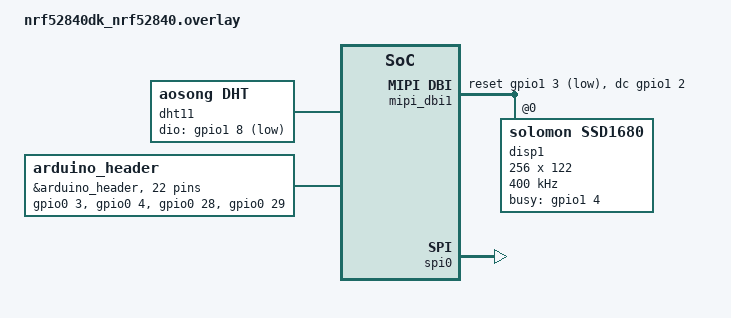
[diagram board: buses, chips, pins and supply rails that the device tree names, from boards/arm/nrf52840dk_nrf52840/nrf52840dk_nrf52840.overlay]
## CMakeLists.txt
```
cmake_minimum_required(VERSION 3.20.0)
find_package(Zephyr REQUIRED HINTS $ENV{ZEPHYR_BASE})

project(LVGL_Temp_And_Humidity_Attempt_1)

target_sources(app PRIVATE src/main.c)
```

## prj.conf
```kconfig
CONFIG_LV_Z_SHELL=y
CONFIG_MAIN_STACK_SIZE=16384
CONFIG_DISPLAY=y
CONFIG_DISPLAY_LOG_LEVEL_ERR=y
CONFIG_DISPLAY_INIT_PRIORITY=80
CONFIG_LOG=y
CONFIG_SHELL=y
CONFIG_LVGL=y
CONFIG_LV_USE_LOG=y
CONFIG_LV_USE_LABEL=y
CONFIG_LV_COLOR_DEPTH_1=y
CONFIG_LV_DRAW_BUF_STRIDE_ALIGN=8
CONFIG_LV_Z_MEM_POOL_SIZE=65536

CONFIG_SENSOR=y
CONFIG_DHT=y
CONFIG_GPIO=y
CONFIG_DHT_LOCK_IRQS=y
CONFIG_SSD16XX=y
CONFIG_SERIAL=y
CONFIG_UART_CONSOLE=y
CONFIG_CONSOLE=y
CONFIG_GPIO_NRFX=y

CONFIG_SPI=y
CONFIG_SPI_NRFX=y


CONFIG_LV_Z_VDB_SIZE=100

CONFIG_DISPLAY_LOG_LEVEL_DBG=y
CONFIG_LV_USE_QRCODE=y
CONFIG_LV_USE_CANVAS=y

CONFIG_DEBUG=y
CONFIG_PRINTK=y
CONFIG_THREAD_NAME=y
CONFIG_LOG=y
CONFIG_DEBUG_INFO=y
CONFIG_ASSERT=y

CONFIG_LV_FONT_MONTSERRAT_8=y
CONFIG_LV_FONT_MONTSERRAT_10=y
CONFIG_LV_FONT_MONTSERRAT_12=y
CONFIG_LV_FONT_MONTSERRAT_14=y
CONFIG_LV_FONT_MONTSERRAT_16=y
CONFIG_LV_FONT_MONTSERRAT_18=y
CONFIG_LV_FONT_MONTSERRAT_20=y
CONFIG_LV_FONT_MONTSERRAT_22=y
CONFIG_LV_FONT_MONTSERRAT_24=y
CONFIG_LV_FONT_MONTSERRAT_26=y
CONFIG_LV_FONT_MONTSERRAT_28=y
CONFIG_LV_FONT_MONTSERRAT_30=y
CONFIG_LV_FONT_MONTSERRAT_32=y
CONFIG_LV_FONT_MONTSERRAT_34=y
CONFIG_LV_FONT_MONTSERRAT_36=y
CONFIG_LV_FONT_MONTSERRAT_38=y
CONFIG_LV_FONT_MONTSERRAT_40=y
CONFIG_LV_FONT_MONTSERRAT_42=y
CONFIG_LV_FONT_MONTSERRAT_44=y
CONFIG_LV_FONT_MONTSERRAT_46=y
CONFIG_LV_FONT_MONTSERRAT_48=y
```

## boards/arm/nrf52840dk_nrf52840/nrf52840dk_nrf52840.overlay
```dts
/{
    dht11 {
        compatible = "aosong,dht";
        dio-gpios = <&gpio1 8 (GPIO_PULL_UP | GPIO_ACTIVE_LOW)>;
        status = "okay";
    };
};


/{
    chosen {
        zephyr,display = &disp1;
    };

    mipi_dbi1 {
        compatible = "zephyr,mipi-dbi-spi";
        dc-gpios = <&gpio1 2 GPIO_ACTIVE_HIGH>;
        reset-gpios = <&gpio1 3 GPIO_ACTIVE_LOW>;
        spi-dev = <&spi0>;
        write-only;
        #address-cells = <1>;
        #size-cells = <0>;
        status = "okay";

        disp1: ssd1680@0 {
            compatible = "solomon,ssd1680";
            reg = <0>;
            busy-gpios = <&gpio1 4 (GPIO_PULL_DOWN | GPIO_ACTIVE_HIGH)>;
            width = <256>;
            height = <122>;
            rotation = <0>;
            mipi-max-frequency = <400000>;   
            
            // full {};
            partial {};

            status = "okay";
        };
    };
};


&spi0 {
    status = "okay";
    cs-gpios = <&gpio1 1 GPIO_ACTIVE_LOW>;
};

&gpio1 {
    status = "okay";
};

&arduino_i2c {
    status = "disabled";
};

&arduino_header {
    gpio-map = <0 0 &gpio0 3 0>,
               <1 0 &gpio0 4 0>,
               <2 0 &gpio0 28 0>,
               <3 0 &gpio0 29 0>,
               <4 0 &gpio0 30 0>,
               <5 0 &gpio0 31 0>,
               <6 0 &gpio1 1 0>,
               <7 0 &gpio1 2 0>,
               <8 0 &gpio1 3 0>,
               <9 0 &gpio1 4 0>,
               <10 0 &gpio1 5 0>,
               <11 0 &gpio1 6 0>,
               <12 0 &gpio1 7 0>,
               <13 0 &gpio1 8 0>,
               <14 0 &gpio1 10 0>,
               <15 0 &gpio1 11 0>,
               <16 0 &gpio1 12 0>,
               <17 0 &gpio1 13 0>,
               <18 0 &gpio1 14 0>,
               <19 0 &gpio1 15 0>,
               <20 0 &gpio0 26 0>,
               <21 0 &gpio0 27 0>;
};
```

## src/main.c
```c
#include <zephyr/kernel.h>
#include <zephyr/device.h>
#include <zephyr/drivers/sensor.h>
#include <zephyr/sys/printk.h>
#include <stdlib.h>
#include <string.h>
#include <zephyr/drivers/gpio.h>
#include <zephyr/drivers/display.h>
#include <zephyr/devicetree.h>
#include <stdio.h>
#include <math.h>
#include <lvgl.h>

#define LOG_LEVEL CONFIG_LOG_DEFAULT_LEVEL
#include <zephyr/logging/log.h>
LOG_MODULE_REGISTER(app);

#define DHT_NODE DT_PATH(dht11)

#define NUM_TEXT_LABELS 2
#define NUM_DYNAMIC_LABELS 2

static const struct device *epaper;
static const struct device *dht_dev;

lv_obj_t *temp_text;
lv_obj_t *humidity_text;
lv_obj_t *temp_num_text_label;
lv_obj_t *humidity_num_text_label;

lv_obj_t *dynamic_labels[NUM_DYNAMIC_LABELS] = {NULL, NULL};
lv_obj_t *text_labels[NUM_TEXT_LABELS] = {NULL, NULL};

static int temp_c = 0;
static int humidity = 0;

void initialize_devices(void)
{
    epaper = DEVICE_DT_GET(DT_CHOSEN(zephyr_display));
    if (!device_is_ready(epaper)) {
        LOG_ERR("E-Paper display device not ready");
        return;
    }

    dht_dev = DEVICE_DT_GET(DHT_NODE);
    if (!device_is_ready(dht_dev)) {
        LOG_ERR("DHT device not ready");
        return;
    }
}

void initialize_labels(void)
{
    // Set background to be white
    lv_obj_clean(lv_scr_act());
    lv_obj_set_style_bg_color(lv_scr_act(), lv_color_white(), LV_PART_MAIN);
    lv_obj_set_style_bg_opa(lv_scr_act(), LV_OPA_COVER, LV_PART_MAIN);

    for (int i = 0; i < NUM_TEXT_LABELS; i++) {
        text_labels[i] = lv_label_create(lv_scr_act());
        lv_obj_set_style_bg_color(text_labels[i], lv_color_white(), LV_PART_MAIN);
        lv_obj_set_style_bg_opa(text_labels[i], LV_OPA_TRANSP, LV_PART_MAIN);
        lv_obj_set_width(text_labels[i], 65);
        lv_obj_set_height(text_labels[i], 20);
        lv_label_set_long_mode(text_labels[i], LV_LABEL_LONG_CLIP);
        lv_obj_set_style_text_color(text_labels[i], lv_color_black(), LV_PART_MAIN);
        lv_obj_set_style_text_font(text_labels[i], &lv_font_montserrat_18, 0);
        lv_obj_set_style_text_align(text_labels[i], LV_TEXT_ALIGN_LEFT, LV_PART_MAIN);
        lv_obj_align(text_labels[i], LV_ALIGN_TOP_LEFT, 10, 10 + (i * 30));
    }

    for (int i = 0; i < NUM_DYNAMIC_LABELS; i++) {
        dynamic_labels[i] = lv_label_create(lv_scr_act());
        lv_obj_set_style_bg_color(dynamic_labels[i], lv_color_white(), LV_PART_MAIN);
        lv_obj_set_style_bg_opa(dynamic_labels[i], LV_OPA_TRANSP, LV_PART_MAIN);
        lv_obj_set_width(dynamic_labels[i], 40);
        lv_obj_set_height(dynamic_labels[i], 20);
        lv_label_set_long_mode(dynamic_labels[i], LV_LABEL_LONG_CLIP);
        lv_obj_set_style_text_color(dynamic_labels[i], lv_color_black(), LV_PART_MAIN);
        lv_obj_set_style_text_font(dynamic_labels[i], &lv_font_montserrat_18, 0);
        lv_obj_set_style_text_align(dynamic_labels[i], LV_TEXT_ALIGN_LEFT, LV_PART_MAIN);
        lv_obj_align_to(dynamic_labels[i], text_labels[i], LV_ALIGN_OUT_RIGHT_MID, 10, 0);
    }

    temp_text = text_labels[0];
    humidity_text = text_labels[1];
    
    lv_label_set_text(temp_text,     "Temp: ");
    lv_label_set_text(humidity_text, "Humid: ");

    temp_num_text_label = dynamic_labels[0];
    humidity_num_text_label = dynamic_labels[1];

    lv_label_set_text(temp_num_text_label, "");
    lv_label_set_text(humidity_num_text_label, "");

}

bool read_dht11(void) 
{
    struct sensor_value temp, humid;

    if (sensor_sample_fetch(dht_dev) != 0) {
        LOG_ERR("Failed to fetch sensor sample");
        return false;
    }

    if (sensor_channel_get(dht_dev, SENSOR_CHAN_AMBIENT_TEMP, &temp) != 0 || sensor_channel_get(dht_dev, SENSOR_CHAN_HUMIDITY, &humid) != 0) {
        LOG_ERR("Failed to fetch temperature or humidity sample");
        return false;
    }

    temp_c = temp.val1;
    humidity = humid.val1;

    return true;
}

void update_label(lv_obj_t *label, const char *prev_text, const char *text) 
{
    if (strlen(prev_text) > 0) {
        lv_label_set_text(label, prev_text);
        lv_obj_set_style_text_color(label, lv_color_white(), LV_PART_MAIN);
        lv_obj_invalidate(label);
        lv_refr_now(NULL);
    }

    lv_label_set_text(label, text);
    lv_obj_set_style_text_color(label, lv_color_black(), LV_PART_MAIN);
    lv_obj_invalidate(label);
    lv_refr_now(NULL);
}

void update_temp_and_humidity_labels(lv_obj_t *temp, lv_obj_t *humid, const char *new_temp, const char *new_humid)
{
    static char prev_temp[32] = "";
    static char prev_humid[32] = "";
    
    if (strcmp(prev_temp, new_temp) != 0) {
        update_label(temp, prev_temp, new_temp);
        strncpy(prev_temp, new_temp, sizeof(prev_temp));
    }

    if (strcmp(prev_humid, new_humid) != 0) {
        update_label(humid, prev_humid, new_humid);
        strncpy(prev_humid, new_humid, sizeof(prev_humid));
    }
}

void refresh_all_labels(void)
{
    for (int i = 0; i < NUM_DYNAMIC_LABELS; i++) {
        lv_obj_invalidate(dynamic_labels[i]);
    }

    for (int i = 0; i < NUM_TEXT_LABELS; i++) {
        lv_obj_invalidate(text_labels[i]);
    }

    lv_refr_now(NULL);
}

void maintain_static_labels()
{
    for (int i = 0; i < NUM_TEXT_LABELS; i++) {
        const char *text = lv_label_get_text(text_labels[i]);
        lv_label_set_text(text_labels[i], text);
        lv_obj_invalidate(text_labels[i]);
    }
}

int main(void)
{

    initialize_devices();
    lv_init();
    initialize_labels();

    lv_timer_handler();
    display_blanking_off(epaper);

    int last_temp = INT32_MIN;
    int last_humid = INT32_MIN;

    static int refresh_count = 0;

    while (1) {
        if (read_dht11()) {
            char temp_str[32];
            char humid_str[32];
            snprintf(temp_str, sizeof(temp_str), "%d C", temp_c);
            snprintf(humid_str, sizeof(humid_str), "%d %%", humidity);

            update_temp_and_humidity_labels(temp_num_text_label, humidity_num_text_label, temp_str, humid_str);
        }

        last_temp = temp_c;
        last_humid = humidity;

        k_sleep(K_SECONDS(1));

        if (refresh_count % 10 == 0) {
        //     refresh_all_labels();
        //     LOG_INF("Refreshing all labels");
        }

        if (refresh_count % 15 == 0) {
            // maintain_static_labels();
            // LOG_INF("Maintaining static labels");
        }

        refresh_count++;
    }

    return 0;
}
```
